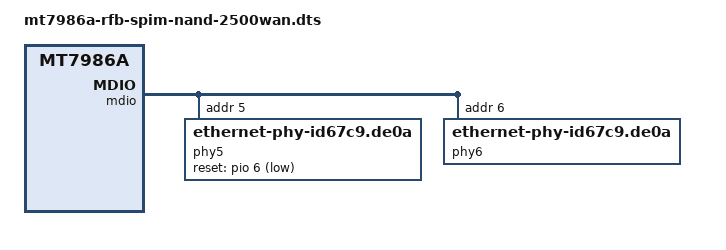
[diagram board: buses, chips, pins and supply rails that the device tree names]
/* SPDX-License-Identifier: (GPL-2.0-only OR MIT) */

/dts-v1/;
/plugin/;
#include "mt7986a-rfb-spim-nand.dts"

/ {
	compatible = "mediatek,mt7986a-2500wan-spim-snand-rfb";

        fragment@2 {
		target = <&mdio>;
                __overlay__ {
			phy5: phy@5 {
				compatible = "ethernet-phy-id67c9.de0a";
				reg = <5>;
				reset-gpios = <&pio 6 1>;
				reset-deassert-us = <20000>;
				phy-mode = "2500base-x";
			};
		
			phy6: phy@6 {
				compatible = "ethernet-phy-id67c9.de0a";
				reg = <6>;
				phy-mode = "2500base-x";
			};
		};
        };

        fragment@3 {
		target = <&switch>;
                __overlay__ {
			ports {
				port@4 {
					reg = <4>;
					label = "lan4";
				};
				port@5 {
					reg = <5>;
					label = "lan5";
					phy-mode = "2500base-x";

					fixed-link {
						speed = <2500>;
						full-duplex;
						pause;
					};
				};
			};
		};
        };
};
